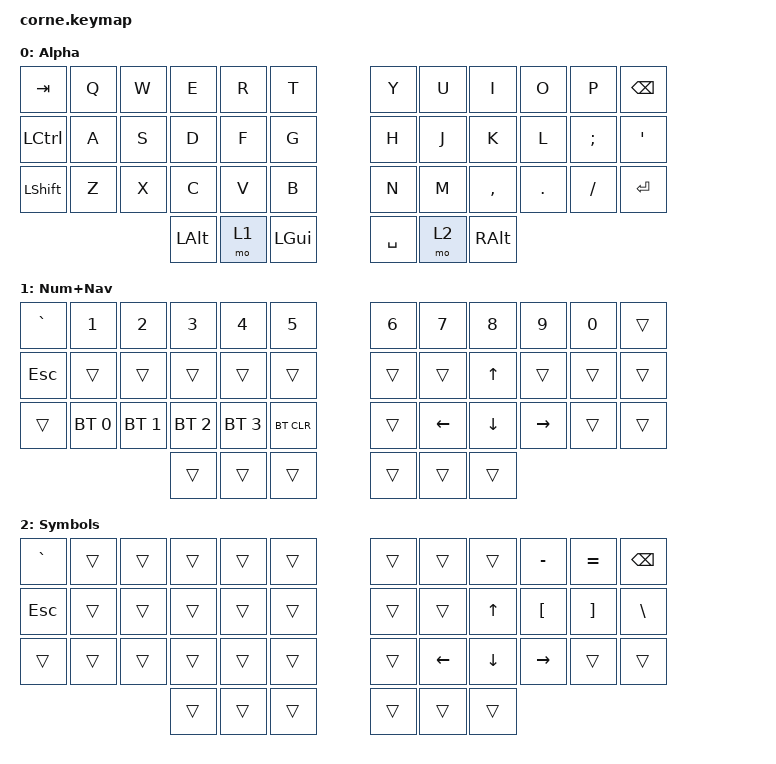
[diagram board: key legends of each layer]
/*
 * Copyright (c) 2020 The ZMK Contributors
 *
 * SPDX-License-Identifier: MIT
 */

#include <behaviors.dtsi>
#include <dt-bindings/zmk/keys.h>
#include <dt-bindings/zmk/bt.h>

/ {
        keymap {
                compatible = "zmk,keymap";

                default_layer {
// -----------------------------------------------------------------------------------------
// |  TAB |  Q  |  W  |  E   |  R  |  T   |   |  Y  |  U   |  I  |  O  |  P  | BKSP |
// | CTRL |  A  |  S  |  D   |  F  |  G   |   |  H  |  J   |  K  |  L  |  ;  |  '   |
// | SHFT |  Z  |  X  |  C   |  V  |  B   |   |  N  |  M   |  ,  |  .  |  /  | ENT  |
//                    | LALT | LWR | LGUI |   | SPC | SYM  | ALT |
                        display-name = "Alpha";
                        bindings = <
   &kp TAB   &kp Q &kp W &kp E    &kp R &kp T      &kp Y     &kp U &kp I     &kp O   &kp P    &kp BSPC
   &kp LCTRL &kp A &kp S &kp D    &kp F &kp G      &kp H     &kp J &kp K     &kp L   &kp SEMI &kp SQT
   &kp LSHFT &kp Z &kp X &kp C    &kp V &kp B      &kp N     &kp M &kp COMMA &kp DOT &kp FSLH &kp RET
                         &kp LALT &mo 1 &kp LGUI   &kp SPACE &mo 2 &kp RALT
                        >;
                };
                lower_layer {
// -----------------------------------------------------------------------------------------
// |  ~  |  1  |  2  |  3  |  4  |   5   |   |  6  |  7  |  8  |  9  |  0  |       |
// | ESC |     |     |     |     |       |   |     |     |  UP |     |     |       |
// |     | BT0 | BT1 | BT2 | BT3 | BTCLR |   |     | LEFT|DOWN |RIGHT|     |       |
//                   |     |     |       |   |     |     |     |
                        display-name = "Num+Nav";
                        bindings = <
   &kp GRAVE &kp N1       &kp N2       &kp N3       &kp N4       &kp N5         &kp N6 &kp N7   &kp N8   &kp N9    &kp N0 &trans
   &kp ESC   &trans       &trans       &trans       &trans       &trans         &trans &trans   &kp UP   &trans    &trans &trans
   &trans    &bt BT_SEL 0 &bt BT_SEL 1 &bt BT_SEL 2 &bt BT_SEL 3 &bt BT_CLR   &trans &kp LEFT &kp DOWN &kp RIGHT &trans &trans
                           &trans &trans &trans   &trans &trans &trans
                        >;
                };

                symbols_layer {
// -----------------------------------------------------------------------------------------
// |  ~  |     |     |     |     |     |   |     |     |     |  -  |  =  | BKSP |
// | ESC |     |     |     |     |     |   |     |     |  UP |  [  |  ]  |  \   |
// |     |     |     |     |     |     |   |     | LEFT|DOWN |RIGHT|     |      |
//                   |     |     |     |   |     |     |     |
                        display-name = "Symbols";
                        bindings = <
   &kp GRAVE &trans &trans &trans &trans &trans   &trans &trans   &trans   &kp MINUS &kp EQUAL &kp BSPC
   &kp ESC   &trans &trans &trans &trans &trans   &trans &trans   &kp UP   &kp LBKT  &kp RBKT  &kp BSLH
   &trans    &trans &trans &trans &trans &trans   &trans &kp LEFT &kp DOWN &kp RIGHT &trans    &trans
                           &trans &trans &trans   &trans &trans &trans
                        >;
                };

                extra_1 {
                        status = "reserved";
                };

                extra_2 {
                        status = "reserved";
                };

                extra_3 {
                        status = "reserved";
                };
        };
};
